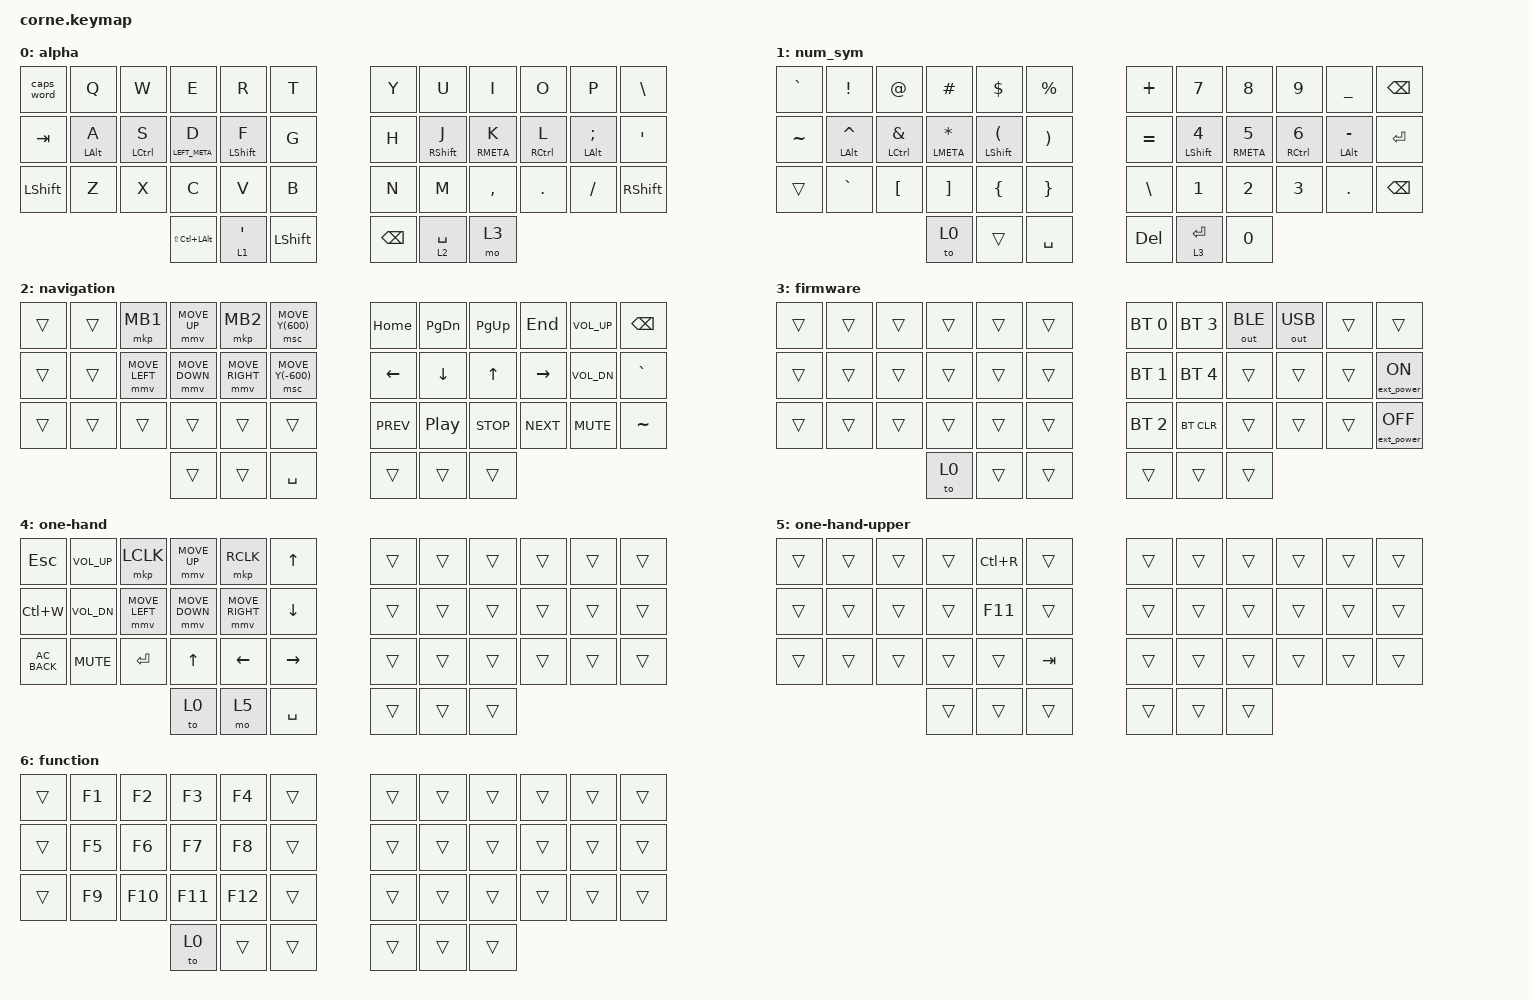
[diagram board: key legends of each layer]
/*
 * Copyright (c) 2020 The ZMK Contributors
 *
 * SPDX-License-Identifier: MIT
 */
#define ZMK_POINTING_DEFAULT_MOVE_VAL 3200

#include <behaviors.dtsi>
#include <dt-bindings/zmk/pointing.h>
#include <dt-bindings/zmk/bt.h>
#include <dt-bindings/zmk/ext_power.h>
#include <dt-bindings/zmk/keys.h>
#include <dt-bindings/zmk/mouse.h>
#include <dt-bindings/zmk/outputs.h>

&mt { 
    flavor = "tap-preferred";
    quick-tap-ms = <200>;
};

&mmv {
    time-to-max-speed-ms = <600>;
    acceleration-exponent = <1>;
};

/ {
    combos {
        compatible = "zmk,combos";

        left_thmb {
            bindings = <&to 4>;
            key-positions = <36 38>;
        };

        escape {
            bindings = <&kp ESCAPE>;
            key-positions = <19 20>;
        };

        cv {
            bindings = <&kp TAB>;
            key-positions = <27 28>;
        };

        fj {
            bindings = <&caps_word>;
            key-positions = <16 19>;
        };

        yu {
            bindings = <&mo 6>;
            key-positions = <6 7>;
        };

        commadot {
            bindings = <&kp ENTER>;
            key-positions = <32 33>;
        };

        onetwo {
            bindings = <&mo 1>;
            key-positions = <31 32>;
            layers = <1>;
        };
    };

    keymap {
        compatible = "zmk,keymap";

        alpha {
            // -----------------------------------------------------------------------------------------
            // |  TAB |  Q  |  W  |  E  |  R  |  T  |   |  Y  |  U   |  I  |  O  |  P  | BKSP |
            // | CTRL |  A  |  S  |  D  |  F  |  G  |   |  H  |  J   |  K  |  L  |  ;  |  '   |
            // | SHFT |  Z  |  X  |  C  |  V  |  B  |   |  N  |  M   |  ,  |  .  |  /  | ESC  |
            //                    | GUI | LWR | SPC |   | ENT | RSE  | ALT |

            bindings = <
&caps_word  &kp Q       &kp W        &kp E            &kp R               &kp T        &kp Y          &kp U         &kp I        &kp O        &kp P               &kp BACKSLASH
&kp TAB     &mt LALT A  &mt LCTRL S  &mt LEFT_META D  &mt LSHIFT F        &kp G        &kp H          &mt RSHIFT J  &mt RMETA K  &mt RCTRL L  &mt LALT SEMICOLON  &kp SQT
&kp LSHFT   &kp Z       &kp X        &kp C            &kp V               &kp B        &kp N          &kp M         &kp COMMA    &kp DOT      &kp FSLH            &kp RSHIFT
                                     &kp LS(LC(LALT)) &lt 1 SINGLE_QUOTE  &kp LSHFT    &kp BACKSPACE  &lt 2 SPACE   &mo 3
            >;
        };

        num_sym {
            // -----------------------------------------------------------------------------------------
            // |  TAB |  1  |  2  |  3  |  4  |  5  |   |  6  |  7  |  8  |  9  |  0  | BKSP |
            // | BTCLR| BT1 | BT2 | BT3 | BT4 | BT5 |   | LFT | DWN |  UP | RGT |     |      |
            // | SHFT |     |     |     |     |     |   |     |     |     |     |     |      |
            //                    | GUI |     | SPC |   | ENT |     | ALT |

            bindings = <
&kp GRAVE  &kp EXCL        &kp AT            &kp POUND          &kp DOLLAR                   &kp PERCENT              &kp PLUS    &kp N7              &kp N8        &kp N9              &kp UNDER       &kp BSPC
&kp TILDE  &mt LALT CARET  &mt LCTRL AMPS    &mt LMETA STAR     &mt LSHIFT LEFT_PARENTHESIS  &kp RIGHT_PARENTHESIS    &kp EQUAL   &mt LSHFT NUMBER_4  &mt RMETA N5  &mt RCTRL NUMBER_6  &mt LALT MINUS  &kp ENTER
&trans     &kp GRAVE       &kp LEFT_BRACKET  &kp RIGHT_BRACKET  &kp LEFT_BRACE               &kp RIGHT_BRACE          &kp BSLH    &kp NUMBER_1        &kp NUMBER_2  &kp NUMBER_3        &kp PERIOD      &kp BACKSPACE
                                             &to 0              &trans                       &kp SPACE                &kp DELETE  &lt 3 ENTER         &kp N0
            >;
        };

        navigation {
            // -----------------------------------------------------------------------------------------
            // |  TAB |  !  |  @  |  #  |  $  |  %  |   |  ^  |  &  |  *  |  (  |  )  | BKSP |
            // | CTRL |     |     |     |     |     |   |  -  |  =  |  [  |  ]  |  \  |  `   |
            // | SHFT |     |     |     |     |     |   |  _  |  +  |  {  |  }  | "|" |  ~   |
            //                    | GUI |     | SPC |   | ENT |     | ALT |

            bindings = <
&trans  &trans  &mkp MB1        &mmv MOVE_UP    &mkp MB2         &msc MOVE_Y(600)    &kp HOME    &kp PAGE_DOWN  &kp PG_UP   &kp END     &kp C_VOL_UP  &kp BSPC
&trans  &trans  &mmv MOVE_LEFT  &mmv MOVE_DOWN  &mmv MOVE_RIGHT  &msc MOVE_Y(-600)   &kp LEFT    &kp DOWN       &kp UP      &kp RIGHT   &kp C_VOL_DN  &kp GRAVE
&trans  &trans  &trans          &trans          &trans           &trans              &kp C_PREV  &kp C_PP       &kp C_STOP  &kp C_NEXT  &kp C_MUTE    &kp TILDE
                                &trans          &trans           &kp SPACE           &trans      &trans         &trans
            >;
        };

        firmware {
            bindings = <
&trans  &trans  &trans  &trans  &trans  &trans    &bt BT_SEL 0  &bt BT_SEL 3  &out OUT_BLE  &out OUT_USB  &trans  &trans
&trans  &trans  &trans  &trans  &trans  &trans    &bt BT_SEL 1  &bt BT_SEL 4  &trans        &trans        &trans  &ext_power EP_ON
&trans  &trans  &trans  &trans  &trans  &trans    &bt BT_SEL 2  &bt BT_CLR    &trans        &trans        &trans  &ext_power EP_OFF
                        &to 0   &trans  &trans    &trans        &trans        &trans
            >;
        };

        one-hand {
            bindings = <
&kp ESCAPE     &kp C_VOLUME_UP  &mkp LCLK       &mmv MOVE_UP    &mkp RCLK        &kp UP_ARROW    &trans  &trans  &trans  &trans  &trans  &trans
&kp LC(W)      &kp C_VOL_DN     &mmv MOVE_LEFT  &mmv MOVE_DOWN  &mmv MOVE_RIGHT  &kp DOWN        &trans  &trans  &trans  &trans  &trans  &trans
&kp C_AC_BACK  &kp C_MUTE       &kp ENTER       &kp UP_ARROW    &kp LEFT_ARROW   &kp RIGHT       &trans  &trans  &trans  &trans  &trans  &trans
                                                &to 0           &mo 5            &kp SPACE       &trans  &trans  &trans
            >;
        };

        one-hand-upper {
            bindings = <
&trans  &trans  &trans  &trans  &kp LC(R)  &trans     &trans  &trans  &trans  &trans  &trans  &trans
&trans  &trans  &trans  &trans  &kp F11    &trans     &trans  &trans  &trans  &trans  &trans  &trans
&trans  &trans  &trans  &trans  &trans     &kp TAB    &trans  &trans  &trans  &trans  &trans  &trans
                        &trans  &trans     &trans     &trans  &trans  &trans
            >;
        };

        function {
            bindings = <
&trans  &kp F1  &kp F2  &kp F3  &kp F4  &trans    &trans        &trans        &trans        &trans        &trans  &trans
&trans  &kp F5  &kp F6  &kp F7  &kp F8  &trans    &trans        &trans        &trans        &trans        &trans  &trans
&trans  &kp F9  &kp F10 &kp F11 &kp F12 &trans    &trans        &trans        &trans        &trans        &trans  &trans
                        &to 0   &trans  &trans    &trans        &trans        &trans
            >;
        };
    };
};
